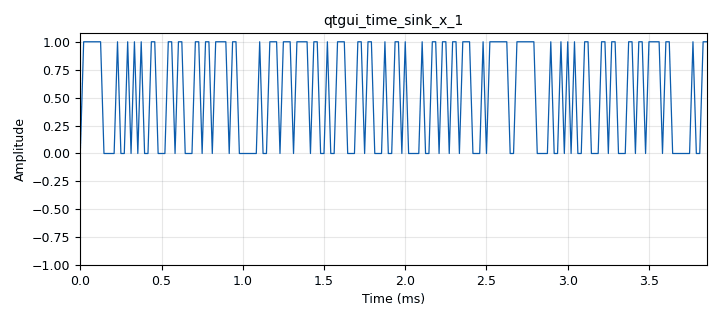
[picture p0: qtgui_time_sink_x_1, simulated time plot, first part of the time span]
options:
  parameters:
    generate_options: qt_gui
    id: hdlc_framer
    output_language: python
    title: Not titled yet
  states: {}

blocks:
- name: samp_rate
  id: variable
  parameters:
    value: '48000'
  states: {}
- name: blocks_char_to_float_0
  id: blocks_char_to_float
  parameters:
    scale: '1'
  states: {state: disabled}
- name: blocks_message_debug_0
  id: blocks_message_debug
  parameters: {}
  states: {}
- name: blocks_message_strobe_0
  id: blocks_message_strobe
  parameters:
    msg: pmt.cons(pmt.make_dict(), pmt.pmt_to_python.numpy_to_uvector(numpy.array([ord(c) for c in "Hello world!"], numpy.uint8)))
    period: '1000'
  states: {}
- name: blocks_throttle_0
  id: blocks_throttle
  parameters:
    samples_per_second: samp_rate
    type: byte
  states: {}
- name: blocks_uchar_to_float_0
  id: blocks_uchar_to_float
  parameters: {}
  states: {}
- name: digital_hdlc_deframer_bp_0
  id: digital_hdlc_deframer_bp
  parameters:
    max: '500'
    min: '2'
  states: {}
- name: digital_hdlc_framer_pb_0
  id: digital_hdlc_framer_pb
  parameters:
    frame_tag_name: thisistag
  states: {}
- name: import_0
  id: import
  parameters:
    imports: import numpy
  states: {}
- name: qtgui_time_sink_x_0
  id: qtgui_time_sink_x
  parameters:
    size: '1024'
    srate: samp_rate
    type: float
  states: {state: disabled}
- name: qtgui_time_sink_x_1
  id: qtgui_time_sink_x
  parameters:
    size: '1024'
    srate: samp_rate
    type: float
  states: {}
- name: virtual_sink_0
  id: virtual_sink
  parameters:
    stream_id: pkt_out
  states: {}
- name: virtual_source_0
  id: virtual_source
  parameters:
    stream_id: pkt_out
  states: {}

connections:
- [blocks_char_to_float_0, '0', qtgui_time_sink_x_0, '0']
- [blocks_message_strobe_0, strobe, digital_hdlc_framer_pb_0, in]
- [blocks_throttle_0, '0', blocks_uchar_to_float_0, '0']
- [blocks_throttle_0, '0', digital_hdlc_deframer_bp_0, '0']
- [blocks_uchar_to_float_0, '0', qtgui_time_sink_x_1, '0']
- [digital_hdlc_deframer_bp_0, out, blocks_message_debug_0, print]
- [digital_hdlc_framer_pb_0, '0', virtual_sink_0, '0']
- [virtual_source_0, '0', blocks_char_to_float_0, '0']
- [virtual_source_0, '0', blocks_throttle_0, '0']

metadata:
  file_format: 1
  grc_version: 3.10.2.0
